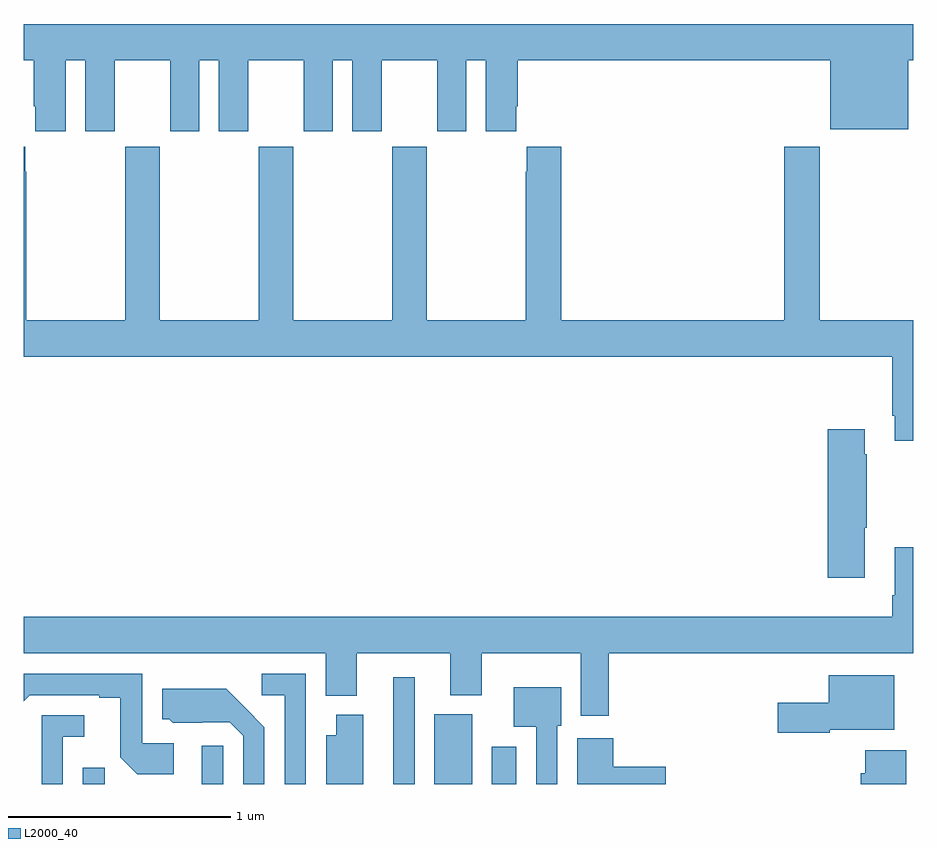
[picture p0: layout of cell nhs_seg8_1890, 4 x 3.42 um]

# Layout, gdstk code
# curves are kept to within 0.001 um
import gdstk
lib = gdstk.Library(unit=1e-6, precision=1e-09)
def R(c, l, rs):  # rectangles x0, y0, x1, y1
    for r in rs: c.add(gdstk.rectangle(r[:2], r[2:], *l))
def P(c, l, *ps):  # polygons
    for p in ps: c.add(gdstk.Polygon(p, *l))
L2000_40 = (2000, 40)

nhs_seg8_1890 = lib.new_cell('nhs_seg8_1890')
R(nhs_seg8_1890, L2000_40, [(231.267,1127.9,231.365,1127.972), (231.801,1127.9,231.897,1128.073), (232.661,1127.9,232.758,1128.379), (232.847,1127.9,233.017,1128.214), (233.105,1127.9,233.215,1128.067)])
P(nhs_seg8_1890, L2000_40, [(231,1131.152),(231.047,1131.152),(231.047,1130.947),(231.053,1130.947),(231.053,1130.835),(231.19,1130.835),(231.19,1131.152),(231.278,1131.152),(231.278,1130.835),(231.409,1130.835),(231.409,1131.152),(231.659,1131.152),(231.659,1130.835),(231.79,1130.835),(231.79,1131.152),(231.878,1131.152),(231.878,1130.835),(232.009,1130.835),(232.009,1131.152),(232.259,1131.152),(232.259,1130.835),(232.39,1130.835),(232.39,1131.152),(232.478,1131.152),(232.478,1130.835),(232.609,1130.835),(232.609,1131.152),(232.859,1131.152),(232.859,1130.835),(232.99,1130.835),(232.99,1131.152),(233.078,1131.152),(233.078,1130.835),(233.215,1130.835),(233.215,1130.947),(233.222,1130.947),(233.222,1131.152),(234.626,1131.152),(234.626,1130.843),(234.976,1130.843),(234.976,1131.152),(235,1131.152),(235,1131.316),(231,1131.316)],
  [(232.057,1130.764),(232.057,1129.984),(231.612,1129.984),(231.612,1130.764),(231.457,1130.764),(231.457,1129.984),(231.012,1129.984),(231.012,1130.651),(231.007,1130.651),(231.007,1130.764),(231,1130.764),(231,1129.82),(234.905,1129.82),(234.905,1129.555),(234.917,1129.555),(234.917,1129.443),(235,1129.443),(235,1129.984),(234.579,1129.984),(234.579,1130.764),(234.419,1130.764),(234.419,1129.984),(233.417,1129.984),(233.417,1130.764),(233.261,1130.764),(233.261,1130.651),(233.257,1130.651),(233.257,1129.984),(232.812,1129.984),(232.812,1130.764),(232.657,1130.764),(232.657,1129.984),(232.212,1129.984),(232.212,1130.764)],
  [(234.781,1129.051),(234.789,1129.051),(234.789,1129.382),(234.781,1129.382),(234.781,1129.495),(234.614,1129.495),(234.614,1128.828),(234.781,1128.828)],
  [(231,1128.488),(232.358,1128.488),(232.358,1128.296),(232.498,1128.296),(232.498,1128.488),(232.919,1128.488),(232.919,1128.299),(233.059,1128.299),(233.059,1128.488),(233.504,1128.488),(233.504,1128.207),(233.63,1128.207),(233.63,1128.488),(235,1128.488),(235,1128.964),(234.917,1128.964),(234.917,1128.748),(234.905,1128.748),(234.905,1128.652),(231,1128.652)],
  [(232.269,1128.396),(232.071,1128.396),(232.071,1128.3),(232.173,1128.3),(232.173,1127.9),(232.269,1127.9)],
  [(231.676,1128.084),(231.534,1128.084),(231.534,1128.396),(231,1128.396),(231,1128.273),(231.027,1128.3),(231.341,1128.3),(231.341,1128.288),(231.435,1128.288),(231.435,1128.02),(231.511,1127.944),(231.676,1127.944)],
  [(234.624,1128.143),(234.913,1128.143),(234.913,1128.388),(234.62,1128.388),(234.62,1128.265),(234.39,1128.265),(234.39,1128.131),(234.624,1128.131)],
  [(233.4,1128.162),(233.416,1128.162),(233.416,1128.334),(233.204,1128.334),(233.204,1128.158),(233.304,1128.158),(233.304,1127.9),(233.4,1127.9)],
  [(232.083,1128.154),(231.911,1128.328),(231.623,1128.328),(231.623,1128.192),(231.654,1128.192),(231.67,1128.176),(231.927,1128.177),(231.987,1128.117),(231.987,1127.9),(232.083,1127.9)],
  [(232.528,1128.211),(232.406,1128.211),(232.406,1128.118),(232.361,1128.118),(232.361,1127.9),(232.528,1127.9)],
  [(231.177,1128.113),(231.274,1128.113),(231.274,1128.21),(231.081,1128.21),(231.081,1127.9),(231.177,1127.9)],
  [(233.887,1127.978),(233.651,1127.978),(233.651,1128.106),(233.489,1128.106),(233.489,1127.9),(233.887,1127.9)],
  [(234.967,1128.052),(234.783,1128.052),(234.783,1127.948),(234.763,1127.948),(234.763,1127.9),(234.967,1127.9)])

lib.write_gds('nhs_seg8_1890.gds')
